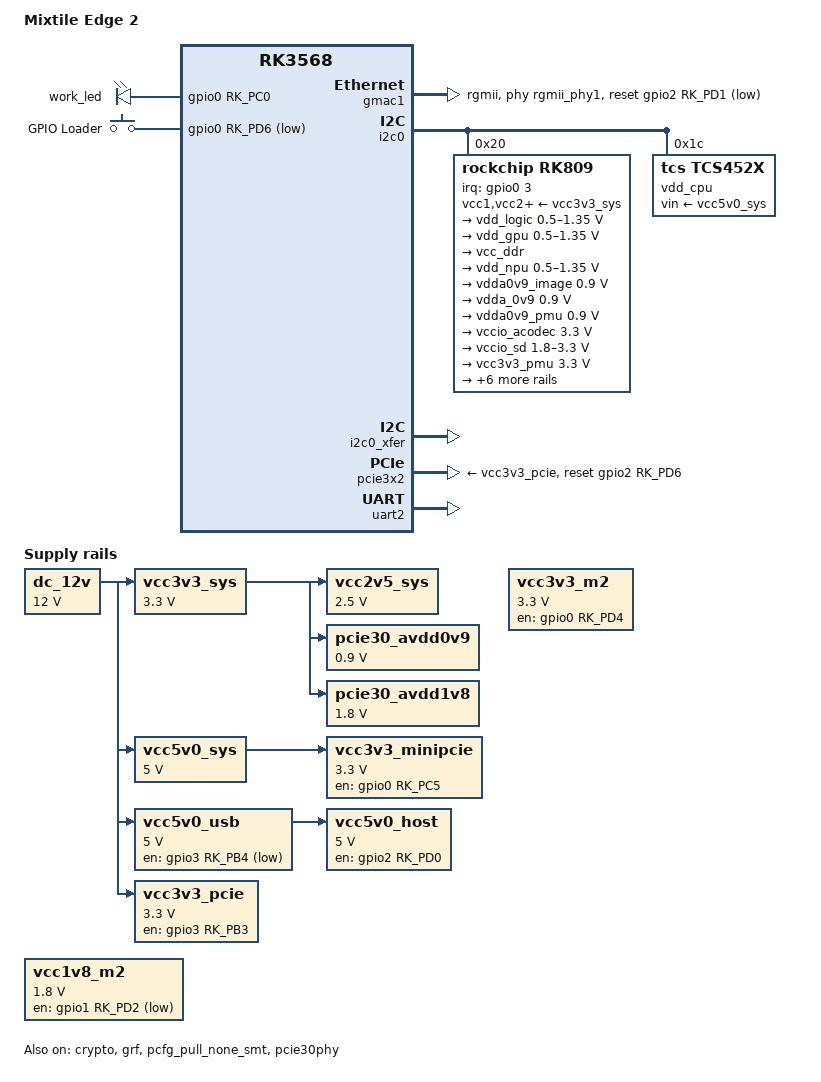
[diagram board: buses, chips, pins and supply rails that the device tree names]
/*
 * SPDX-License-Identifier:     GPL-2.0+
 *
 * (C) Copyright 2020 Rockchip Electronics Co., Ltd
 */

/dts-v1/;
#include "rk3568.dtsi"
#include "rk3568-u-boot.dtsi"
#include <dt-bindings/input/input.h>
#include <dt-bindings/usb/pd.h>

/ {

	model = "Mixtile Edge 2";
	compatible = "focalcrest,mixtile-edge2", "rockchip,rk3568";

	leds: leds {
		compatible = "gpio-leds";
		work_led: work {
			gpios = <&gpio0 RK_PC0 GPIO_ACTIVE_HIGH>;
			linux,default-trigger = "heartbeat";
		};

	};

	keys: gpio-keys {
		compatible = "gpio-keys";
		#address-cells = <1>;
		#size-cells = <0>;
		status = "okay";

		button@0 {
			gpios = <&gpio0 RK_PD6 GPIO_ACTIVE_LOW>;
			label = "GPIO Loader";
			linux,code = <KEY_VOLUMEUP>;
		};
	};

	dc_12v: dc-12v {
		u-boot,dm-pre-reloc;
		compatible = "regulator-fixed";
		regulator-name = "dc_12v";
		regulator-always-on;
		regulator-boot-on;
		regulator-min-microvolt = <12000000>;
		regulator-max-microvolt = <12000000>;
	};

	vcc2v5_sys: vcc2v5-ddr {
		u-boot,dm-pre-reloc;
		compatible = "regulator-fixed";
		regulator-name = "vcc2v5-sys";
		regulator-always-on;
		regulator-boot-on;
		regulator-min-microvolt = <2500000>;
		regulator-max-microvolt = <2500000>;
		vin-supply = <&vcc3v3_sys>;
	};

	vcc3v3_sys: vcc3v3-sys {
		u-boot,dm-pre-reloc;
		compatible = "regulator-fixed";
		regulator-name = "vcc3v3_sys";
		regulator-always-on;
		regulator-boot-on;
		regulator-min-microvolt = <3300000>;
		regulator-max-microvolt = <3300000>;
		vin-supply = <&dc_12v>;
	};

	vcc5v0_sys: vcc5v0-sys {
		u-boot,dm-pre-reloc;
		compatible = "regulator-fixed";
		regulator-name = "vcc5v0_sys";
		regulator-always-on;
		regulator-boot-on;
		regulator-min-microvolt = <5000000>;
		regulator-max-microvolt = <5000000>;
		vin-supply = <&dc_12v>;
	};

	vcc5v0_usb: vcc5v0-usb {
		u-boot,dm-pre-reloc;
		compatible = "regulator-fixed";
		regulator-name = "vcc5v0_usb";
		regulator-always-on;
		regulator-boot-on;
		regulator-min-microvolt = <5000000>;
		regulator-max-microvolt = <5000000>;
		gpio = <&gpio3 RK_PB4 GPIO_ACTIVE_LOW>;
		vin-supply = <&dc_12v>;
	};

	vcc5v0_host: vcc5v0-host {
		u-boot,dm-pre-reloc;
		compatible = "regulator-fixed";
		regulator-name = "vcc5v0_host";
		regulator-boot-on;
		regulator-always-on;
		regulator-min-microvolt = <5000000>;
		regulator-max-microvolt = <5000000>;
		enable-active-high;
		gpio = <&gpio2 RK_PD0 GPIO_ACTIVE_HIGH>;
		vin-supply = <&vcc5v0_usb>;
		pinctrl-names = "default";
		pinctrl-0 = <&vcc5v0_host_en>;
	};

	pcie30_avdd0v9: pcie30-avdd0v9 {
		u-boot,dm-pre-reloc;
		compatible = "regulator-fixed";
		regulator-name = "pcie30_avdd0v9";
		regulator-always-on;
		regulator-boot-on;
		regulator-min-microvolt = <900000>;
		regulator-max-microvolt = <900000>;
		vin-supply = <&vcc3v3_sys>;
	};

	pcie30_avdd1v8: pcie30-avdd1v8 {
		u-boot,dm-pre-reloc;
		compatible = "regulator-fixed";
		regulator-name = "pcie30_avdd1v8";
		regulator-always-on;
		regulator-boot-on;
		regulator-min-microvolt = <1800000>;
		regulator-max-microvolt = <1800000>;
		vin-supply = <&vcc3v3_sys>;
	};

	vcc3v3_pcie: vcc3v3-pcie {
		u-boot,dm-pre-reloc;
		compatible = "regulator-fixed";
		regulator-name = "vcc3v3_pcie";
		regulator-min-microvolt = <3300000>;
		regulator-max-microvolt = <3300000>;
		enable-active-high;
		regulator-always-on;
		regulator-boot-on;
		gpio = <&gpio3 RK_PB3 GPIO_ACTIVE_HIGH>;
		vin-supply = <&dc_12v>;
	};

	vcc3v3_m2: vcc3v3-m2 {
		u-boot,dm-pre-reloc;
		compatible = "regulator-fixed";
		regulator-name = "vcc3v3_m2";
		regulator-min-microvolt = <3300000>;
		regulator-max-microvolt = <3300000>;
		enable-active-high;
		regulator-always-on;
		regulator-boot-on;
		gpio = <&gpio0 RK_PD4 GPIO_ACTIVE_HIGH>;
	};

	vcc1v8_m2: vcc1v8-m2 {
		u-boot,dm-pre-reloc;
		compatible = "regulator-fixed";
		regulator-name = "vcc1v8_m2";
		regulator-min-microvolt = <1800000>;
		regulator-max-microvolt = <1800000>;
		regulator-always-on;
		regulator-boot-on;
		pinctrl-names = "default";
		pinctrl-0 = <&vcc1v8_m2_pin>;
		gpio = <&gpio1 RK_PD2 GPIO_ACTIVE_LOW>;
	};

	vcc3v3_minipcie: vcc3v3-minipcie {
		u-boot,dm-pre-reloc;
		compatible = "regulator-fixed";
		regulator-name = "vcc3v3_minipcie";
		regulator-always-on;
		regulator-boot-on;
		enable-active-high;
		regulator-min-microvolt = <3300000>;
		regulator-max-microvolt = <3300000>;
		gpio = <&gpio0 RK_PC5 GPIO_ACTIVE_HIGH>;
		vin-supply = <&vcc5v0_sys>;
	};
};

&crypto {
	status = "okay";
};

&gmac1 {
	u-boot,dm-pre-reloc;
	phy-mode = "rgmii";
	clock_in_out = "output";

	snps,reset-gpio = <&gpio2 RK_PD1 GPIO_ACTIVE_LOW>;
	snps,reset-active-low;
	/* Reset time is 20ms, 100ms for rtl8211f */
	snps,reset-delays-us = <0 20000 100000>;

	assigned-clocks = <&cru SCLK_GMAC1_RX_TX>, <&cru SCLK_GMAC1>;
	assigned-clock-parents = <&cru SCLK_GMAC1_RGMII_SPEED>, <&cru CLK_MAC1_2TOP>;
	assigned-clock-rates = <0>, <125000000>;

	pinctrl-names = "default";
	pinctrl-0 = <&gmac1m1_miim
		     &gmac1m1_tx_bus2
		     &gmac1m1_rx_bus2
		     &gmac1m1_rgmii_clk
		     &gmac1m1_rgmii_bus>;

	tx_delay = <0x4f>;
	rx_delay = <0x26>;

	phy-handle = <&rgmii_phy1>;
	status = "okay";
};

&gpio0 {
	u-boot,dm-pre-reloc;
};

&gpio1 {
	u-boot,dm-pre-reloc;
};

&gpio2 {
	u-boot,dm-pre-reloc;
};

&gpio3 {
	u-boot,dm-pre-reloc;
};

&grf {
	u-boot,dm-pre-reloc;
	status = "okay";
};

&i2c0 {
	status = "okay";
	u-boot,dm-pre-reloc;

	rk809: pmic@20 {
		u-boot,dm-pre-reloc;
		status = "okay";
		compatible = "rockchip,rk809";
		reg = <0x20>;
		interrupt-parent = <&gpio0>;
		interrupts = <3 IRQ_TYPE_LEVEL_LOW>;

		pinctrl-names = "default", "pmic-sleep",
				"pmic-power-off", "pmic-reset";
		pinctrl-0 = <&pmic_int>;
		pinctrl-1 = <&soc_slppin_slp>, <&rk817_slppin_slp>;
		pinctrl-2 = <&soc_slppin_gpio>, <&rk817_slppin_pwrdn>;
		pinctrl-3 = <&soc_slppin_gpio>, <&rk817_slppin_rst>;

		rockchip,system-power-controller;
		wakeup-source;
		#clock-cells = <1>;
		clock-output-names = "rk808-clkout1", "rk808-clkout2";
		//fb-inner-reg-idxs = <2>;
		/* 1: rst regs (default in codes), 0: rst the pmic */
		pmic-reset-func = <0>;
		/* not save the PMIC_POWER_EN register in uboot */
		not-save-power-en = <1>;

		vcc1-supply = <&vcc3v3_sys>;
		vcc2-supply = <&vcc3v3_sys>;
		vcc3-supply = <&vcc3v3_sys>;
		vcc4-supply = <&vcc3v3_sys>;
		vcc5-supply = <&vcc3v3_sys>;
		vcc6-supply = <&vcc3v3_sys>;
		vcc7-supply = <&vcc3v3_sys>;
		vcc8-supply = <&vcc3v3_sys>;
		vcc9-supply = <&vcc3v3_sys>;

		pwrkey {
			status = "okay";
			u-boot,dm-pre-reloc;
		};

		pinctrl_rk8xx: pinctrl_rk8xx {
			u-boot,dm-pre-reloc;
			gpio-controller;
			#gpio-cells = <2>;

			rk817_slppin_null: rk817_slppin_null {
				pins = "gpio_slp";
				function = "pin_fun0";
				u-boot,dm-pre-reloc;
			};

			rk817_slppin_slp: rk817_slppin_slp {
				pins = "gpio_slp";
				function = "pin_fun1";
				u-boot,dm-pre-reloc;
			};

			rk817_slppin_pwrdn: rk817_slppin_pwrdn {
				pins = "gpio_slp";
				function = "pin_fun2";
				u-boot,dm-pre-reloc;
			};

			rk817_slppin_rst: rk817_slppin_rst {
				pins = "gpio_slp";
				function = "pin_fun3";
				u-boot,dm-pre-reloc;
			};
		};

		regulators {
			u-boot,dm-pre-reloc;
			vdd_logic: DCDC_REG1 {
				u-boot,dm-pre-reloc;
				regulator-always-on;
				regulator-boot-on;
				regulator-min-microvolt = <500000>;
				regulator-max-microvolt = <1350000>;
				regulator-init-microvolt = <900000>;
				regulator-ramp-delay = <6001>;
				regulator-initial-mode = <0x2>;
				regulator-name = "vdd_logic";
				regulator-state-mem {
					u-boot,dm-pre-reloc;
					regulator-on-in-suspend;
				};
			};

			vdd_gpu: DCDC_REG2 {
				u-boot,dm-pre-reloc;
				regulator-always-on;
				regulator-boot-on;
				regulator-min-microvolt = <500000>;
				regulator-max-microvolt = <1350000>;
				regulator-init-microvolt = <900000>;
				regulator-ramp-delay = <6001>;
				regulator-initial-mode = <0x2>;
				regulator-name = "vdd_gpu";
				regulator-state-mem {
					u-boot,dm-pre-reloc;
					regulator-on-in-suspend;
				};
			};

			vcc_ddr: DCDC_REG3 {
				u-boot,dm-pre-reloc;
				regulator-always-on;
				regulator-boot-on;
				regulator-initial-mode = <0x2>;
				regulator-name = "vcc_ddr";
				regulator-state-mem {
					u-boot,dm-pre-reloc;
					regulator-on-in-suspend;
				};
			};

			vdd_npu: DCDC_REG4 {
				u-boot,dm-pre-reloc;
				regulator-always-on;
				regulator-boot-on;
				regulator-min-microvolt = <500000>;
				regulator-max-microvolt = <1350000>;
				regulator-init-microvolt = <900000>;
				regulator-ramp-delay = <6001>;
				regulator-initial-mode = <0x2>;
				regulator-name = "vdd_npu";
				regulator-state-mem {
					u-boot,dm-pre-reloc;
					regulator-on-in-suspend;
				};
			};

			vdda0v9_image: LDO_REG1 {
				u-boot,dm-pre-reloc;
				regulator-boot-on;
				regulator-always-on;
				regulator-min-microvolt = <900000>;
				regulator-max-microvolt = <900000>;
				regulator-name = "vdda0v9_image";
				regulator-state-mem {
					u-boot,dm-pre-reloc;
					regulator-off-in-suspend;
				};
			};

			vdda_0v9: LDO_REG2 {
				u-boot,dm-pre-reloc;
				regulator-always-on;
				regulator-boot-on;
				regulator-min-microvolt = <900000>;
				regulator-max-microvolt = <900000>;
				regulator-name = "vdda_0v9";
				regulator-state-mem {
					u-boot,dm-pre-reloc;
					regulator-off-in-suspend;
				};
			};

			vdda0v9_pmu: LDO_REG3 {
				u-boot,dm-pre-reloc;
				regulator-always-on;
				regulator-boot-on;
				regulator-min-microvolt = <900000>;
				regulator-max-microvolt = <900000>;
				regulator-name = "vdda0v9_pmu";
				regulator-state-mem {
					u-boot,dm-pre-reloc;
					regulator-on-in-suspend;
					regulator-suspend-microvolt = <900000>;
				};
			};

			vccio_acodec: LDO_REG4 {
				u-boot,dm-pre-reloc;
				regulator-always-on;
				regulator-boot-on;
				regulator-min-microvolt = <3300000>;
				regulator-max-microvolt = <3300000>;
				regulator-name = "vccio_acodec";
				regulator-state-mem {
					u-boot,dm-pre-reloc;
					regulator-off-in-suspend;
				};
			};

			vccio_sd: LDO_REG5 {
				u-boot,dm-pre-reloc;
				regulator-always-on;
				regulator-boot-on;
				regulator-min-microvolt = <1800000>;
				regulator-max-microvolt = <3300000>;
				regulator-name = "vccio_sd";
				regulator-state-mem {
					u-boot,dm-pre-reloc;
					regulator-off-in-suspend;
				};
			};

			vcc3v3_pmu: LDO_REG6 {
				u-boot,dm-pre-reloc;
				regulator-always-on;
				regulator-boot-on;
				regulator-min-microvolt = <3300000>;
				regulator-max-microvolt = <3300000>;
				regulator-name = "vcc3v3_pmu";
				regulator-state-mem {
					u-boot,dm-pre-reloc;
					regulator-on-in-suspend;
					regulator-suspend-microvolt = <3300000>;
				};
			};

			vcca_1v8: LDO_REG7 {
				u-boot,dm-pre-reloc;
				regulator-always-on;
				regulator-boot-on;
				regulator-min-microvolt = <1800000>;
				regulator-max-microvolt = <1800000>;
				regulator-name = "vcca_1v8";
				regulator-state-mem {
					u-boot,dm-pre-reloc;
					regulator-off-in-suspend;
				};
			};

			vcca1v8_pmu: LDO_REG8 {
				u-boot,dm-pre-reloc;
				regulator-always-on;
				regulator-boot-on;
				regulator-min-microvolt = <1800000>;
				regulator-max-microvolt = <1800000>;
				regulator-name = "vcca1v8_pmu";
				regulator-state-mem {
					u-boot,dm-pre-reloc;
					regulator-on-in-suspend;
					regulator-suspend-microvolt = <1800000>;
				};
			};

			vcca1v8_image: LDO_REG9 {
				u-boot,dm-pre-reloc;
				regulator-always-on;
				regulator-boot-on;
				regulator-min-microvolt = <1800000>;
				regulator-max-microvolt = <1800000>;
				regulator-name = "vcca1v8_image";
				regulator-state-mem {
					u-boot,dm-pre-reloc;
					regulator-off-in-suspend;
				};
			};

			vcc_1v8: DCDC_REG5 {
				u-boot,dm-pre-reloc;
				regulator-always-on;
				regulator-boot-on;
				regulator-min-microvolt = <1800000>;
				regulator-max-microvolt = <1800000>;
				regulator-name = "vcc_1v8";
				regulator-state-mem {
					u-boot,dm-pre-reloc;
					regulator-off-in-suspend;
				};
			};

			vcc_3v3: SWITCH_REG1 {
				u-boot,dm-pre-reloc;
				regulator-always-on;
				regulator-boot-on;
				regulator-name = "vcc_3v3";
				regulator-state-mem {
					u-boot,dm-pre-reloc;
					regulator-off-in-suspend;
				};
			};

			vcc3v3_sd: SWITCH_REG2 {
				u-boot,dm-pre-reloc;
				regulator-always-on;
				regulator-boot-on;
				regulator-name = "vcc3v3_sd";
				regulator-state-mem {
					u-boot,dm-pre-reloc;
					regulator-off-in-suspend;
				};
			};
		};
	};

	vdd_cpu: tcs4525@1c {
		u-boot,dm-pre-reloc;
		status = "okay";
		compatible = "tcs,tcs452x";
		reg = <0x1c>;
		vin-supply = <&vcc5v0_sys>;
		regulator-compatible = "fan53555-reg";
		regulator-name = "vdd_cpu";
		regulator-min-microvolt = <712500>;
		regulator-max-microvolt = <1390000>;
		regulator-init-microvolt = <900000>;
		regulator-ramp-delay = <2300>;
		fcs,suspend-voltage-selector = <1>;
		regulator-boot-on;
		regulator-always-on;
		regulator-state-mem {
			u-boot,dm-pre-reloc;
			regulator-off-in-suspend;
		};
	};

};

&i2c0_xfer {
	u-boot,dm-pre-reloc;
	status = "okay";
};

&pcfg_pull_none_smt {
	u-boot,dm-pre-reloc;
	status = "okay";
};

&pcie30phy {
	u-boot,dm-pre-reloc;
	status = "okay";
};

&pcie30_phy_grf {
	u-boot,dm-pre-reloc;
};

&pcie3x2 {
	u-boot,dm-pre-reloc;
	vpcie3v3-supply = <&vcc3v3_pcie>;
	reset-gpios = <&gpio2 RK_PD6 GPIO_ACTIVE_HIGH>;
	status = "okay";
	rockchip,bifurcation;
};

&pcie30phy {
	u-boot,dm-pre-reloc;
	status = "okay";
};

&pinctrl {
	u-boot,dm-spl;
	pmic {
		u-boot,dm-pre-reloc;
		pmic_int: pmic_int {
			u-boot,dm-pre-reloc;
			rockchip,pins =
				<0 RK_PA3 RK_FUNC_GPIO &pcfg_pull_up>;
		};

		soc_slppin_gpio: soc_slppin_gpio {
			u-boot,dm-pre-reloc;
			rockchip,pins =
				<0 RK_PA2 RK_FUNC_GPIO &pcfg_output_low_pull_down>;
		};

		soc_slppin_slp: soc_slppin_slp {
			u-boot,dm-pre-reloc;
			rockchip,pins =
				<0 RK_PA2 1 &pcfg_pull_up>;
		};

		soc_slppin_rst: soc_slppin_rst {
			u-boot,dm-pre-reloc;
			rockchip,pins =
				<0 RK_PA2 2 &pcfg_pull_none>;
		};
	};

	usb {
		u-boot,dm-pre-reloc;
		vcc5v0_host_en: vcc5v0-host-en {
			u-boot,dm-pre-reloc;
			rockchip,pins = <2 RK_PD0 RK_FUNC_GPIO &pcfg_pull_none>;
		};
	};

	vcc1v8-m2-pin {
		u-boot,dm-pre-reloc;
		vcc1v8_m2_pin: vcc1v8-m2-pin {
			u-boot,dm-pre-reloc;
			rockchip,pins = <1 RK_PD2 RK_FUNC_GPIO &pcfg_pull_none>;
		};
	};
};

&pmu_io_domains {
	status = "okay";
	pmuio2-supply = <&vcc3v3_pmu>;
	vccio1-supply = <&vccio_acodec>;
	vccio3-supply = <&vccio_sd>;
	vccio4-supply = <&vcc_1v8>;
	vccio5-supply = <&vcc_3v3>;
	vccio6-supply = <&vcc_1v8>;
	vccio7-supply = <&vcc_3v3>;
	u-boot,dm-pre-reloc;
};

&pmucru {
	u-boot,dm-pre-reloc;
	status = "okay";
};

&pmugrf {
	u-boot,dm-pre-reloc;
	status = "okay";
};

&uart2 {
	status = "okay";
};
